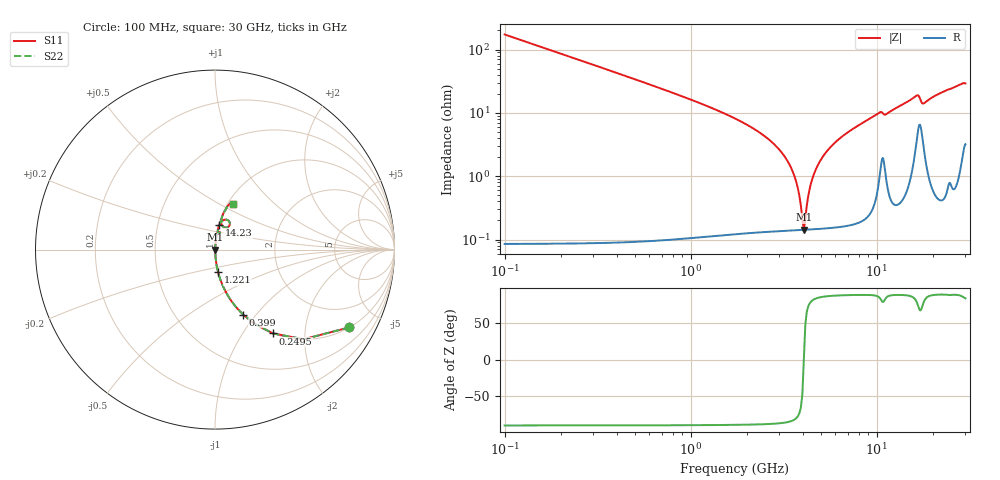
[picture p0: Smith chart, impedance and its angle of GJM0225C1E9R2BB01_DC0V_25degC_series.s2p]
!Murata Part Number: GJM0225C1E9R2BB01
!These Parameters are Measured in Series Mode Connection
!  o--ll--o
!Port1  Port2
!  o------o
!Operation Temp=25[degC], DC Bias Voltage=0[V]
!Freq. Start=100[MHz] Stop=30[GHz], 401[Steps]
!Data Generated on Feb 1, 2023
# Hz S RI R 50
!Freq.(Hz) S11(Real) S11(Imag) S21(Real) S21(Imag) S12(Real) S12(Imag) S22(Real) S22(Imag)
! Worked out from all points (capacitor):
!   401 points, 100 MHz to 30 GHz, reference 50 ohm
!   read as one part in series: C = 9.2 pF near 249.5 MHz
!   lowest |Z| = 142 mohm at 4.062 GHz (marker M1)
!   series resonance near 4.061 GHz, so ESL is about 170 pH
!   S11 on the Smith chart (normalised r, x): 100 MHz: 1.00, -3.46; 249.5 MHz: 1.00, -1.38; 399 MHz: 1.00, -0.86; 1.221 GHz: 1.00, -0.26; 14.23 GHz: 1.01, +0.28; 30 GHz: 1.06, +0.58
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1e8  0.7492 -0.4332  0.2508 0.4332  0.2508 0.4332  0.7492 -0.4332
2.495e8  0.3232 -0.4671  0.6768 0.4671  0.6768 0.4671  0.3232 -0.4671
3.99e8  0.1561 -0.3619  0.8439 0.3619  0.8439 0.3619  0.1561 -0.3619
6.98e8  0.0554 -0.2268  0.9446 0.2268  0.9446 0.2268  0.0554 -0.2268
1.22125e9  0.0173 -0.1263  0.9827 0.1263  0.9827 0.1263  0.0173 -0.1263
3.2395e9  0.00175 -0.0193  0.9983 0.0193  0.9983 0.0193  0.00175 -0.0193
3.61325e9  0.00149 -0.00994  0.9985 0.00994  0.9985 0.00994  0.00149 -0.00994
3.91225e9  0.00142 -0.00317  0.9986 0.00317  0.9986 0.00317  0.00142 -0.00317
4.06175e9  0.00142 2.13e-05  0.9986 -2.13e-05  0.9986 -2.13e-05  0.00142 2.13e-05
4.21125e9  0.00144 0.0031  0.9986 -0.0031  0.9986 -0.0031  0.00144 0.0031
4.51025e9  0.00153 0.00895  0.9985 -0.00895  0.9985 -0.00895  0.00153 0.00895
5.10825e9  0.00187 0.0197  0.9981 -0.0197  0.9981 -0.0197  0.00187 0.0197
6.8275e9  0.0038 0.0465  0.9962 -0.0465  0.9962 -0.0465  0.0038 0.0465
1.01165e10  0.0149 0.0944  0.9851 -0.0944  0.9851 -0.0944  0.0149 0.0944
1.1163e10  0.0191 0.0908  0.9809 -0.0908  0.9809 -0.0908  0.0191 0.0908
1.422775e10  0.0245 0.1381  0.9755 -0.1381  0.9755 -0.1381  0.0245 0.1381
1.505e10  0.0315 0.1507  0.9685 -0.1507  0.9685 -0.1507  0.0315 0.1507
1.6545e10  0.0711 0.1641  0.9289 -0.1641  0.9289 -0.1641  0.0711 0.1641
1.7741e10  0.0499 0.1249  0.9501 -0.1249  0.9501 -0.1249  0.0499 0.1249
2.005825e10  0.0361 0.1706  0.9639 -0.1706  0.9639 -0.1706  0.0361 0.1706
2.50665e10  0.0608 0.2242  0.9392 -0.2242  0.9392 -0.2242  0.0608 0.2242
3e10  0.1019 0.2524  0.8981 -0.2524  0.8981 -0.2524  0.1019 0.2524
